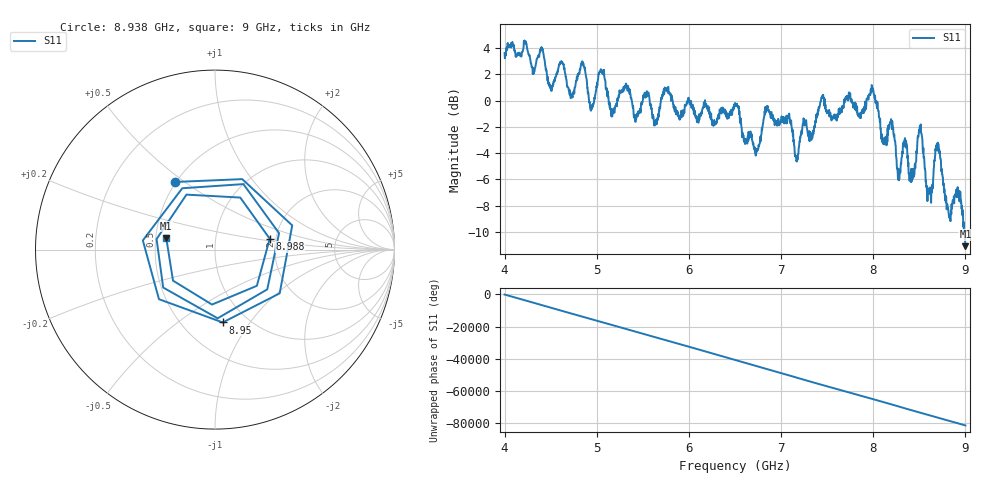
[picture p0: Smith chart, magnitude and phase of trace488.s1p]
! Created with skrf 1.8.0 (http://scikit-rf.org).
# Hz S RI R 50.0
!freq ReS11 ImS11
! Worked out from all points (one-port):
!   1601 points, 4 GHz to 9 GHz, reference 50 ohm
!   lowest |S11| = -11.1 dB at 9 GHz (marker M1), VSWR 1.78, Z = 28.4 + j4.03 ohm
!   |S11| at or under -10 dB: 8.986105 GHz to end of sweep
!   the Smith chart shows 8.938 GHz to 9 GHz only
!   S11 on the Smith chart (normalised r, x): 8.938 GHz: 0.49, +0.46; 8.95 GHz: 0.77, -0.75; 8.988 GHz: 1.86, +0.25; 9 GHz: 0.57, +0.08
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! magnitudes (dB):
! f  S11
! 4 GHz  3.6
! 4.403 GHz  4.0
! 4.5 GHz  1.1
! 4.625 GHz  2.9
! 4.731 GHz  0.3
! 4.85 GHz  2.7
! 4.944 GHz  -0.4
! 5.044 GHz  2.4
! 5.166 GHz  -1.2
! 5.25 GHz  0.6
! 5.875 GHz  -1.1
! 6.5 GHz  -0.2
! 6.728 GHz  -3.7
! 6.847 GHz  -0.4
! 7.125 GHz  -2.2
! 7.75 GHz  0.6
! 7.994 GHz  0.9
! 8.272 GHz  -5.5
! 8.375 GHz  -4.2
! 8.431 GHz  -5.8
! 8.509 GHz  -2.4
! 8.603 GHz  -7.1
! 8.697 GHz  -3.5
! 8.822 GHz  -8.8
! 8.938 GHz  -7.2
! 8.95 GHz  -7.8
! 8.988 GHz  -10.1
! 9 GHz  -11.1
